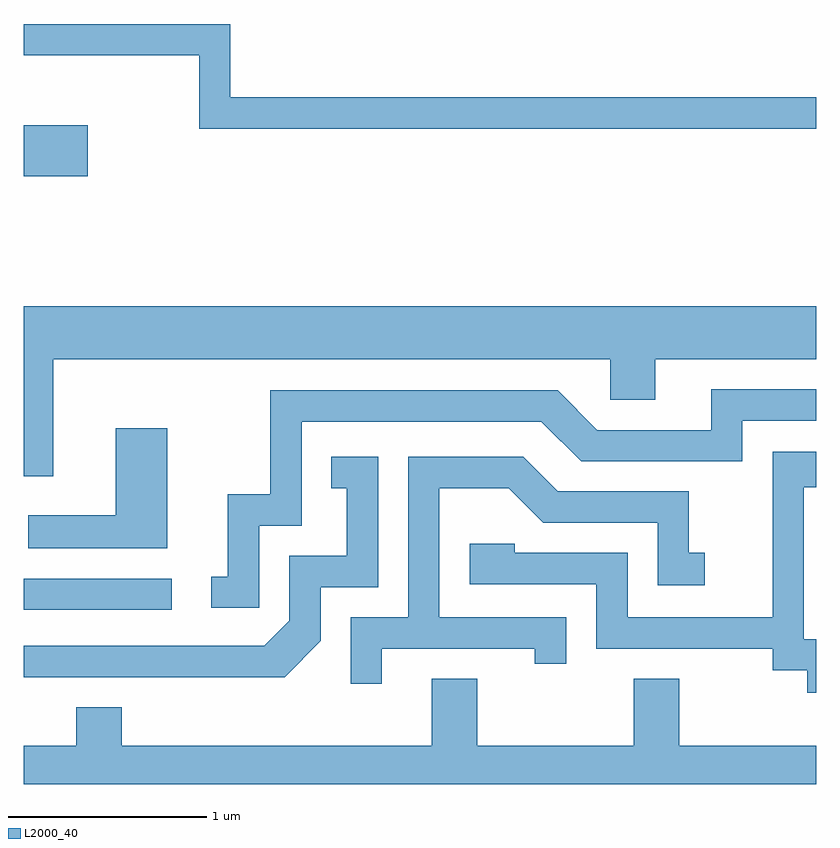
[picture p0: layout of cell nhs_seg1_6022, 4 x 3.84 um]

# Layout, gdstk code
import gdstk
lib = gdstk.Library(unit=1e-6, precision=1e-09)
def R(c, l, rs):  # rectangles x0, y0, x1, y1
    for r in rs: c.add(gdstk.rectangle(r[:2], r[2:], *l))
def P(c, l, *ps):  # polygons
    for p in ps: c.add(gdstk.Polygon(p, *l))
L2000_40 = (2000, 40)

nhs_seg1_6022 = lib.new_cell('nhs_seg1_6022')
R(nhs_seg1_6022, L2000_40, [(367.611,840.591,368.358,840.749), (367.611,842.781,367.934,843.039)])
P(nhs_seg1_6022, L2000_40, [(371.611,843.179),(368.654,843.179),(368.654,843.549),(367.611,843.549),(367.611,843.391),(368.496,843.391),(368.496,843.021),(371.611,843.021)],
  [(367.759,841.856),(370.571,841.856),(370.571,841.651),(370.799,841.651),(370.799,841.856),(371.611,841.856),(371.611,842.124),(367.611,842.124),(367.611,841.266),(367.759,841.266)],
  [(368.799,841.016),(369.014,841.016),(369.014,841.541),(370.224,841.541),(370.424,841.341),(371.239,841.341),(371.239,841.546),(371.611,841.546),(371.611,841.704),(371.081,841.704),(371.081,841.499),(370.507,841.499),(370.307,841.699),(368.856,841.699),(368.856,841.174),(368.641,841.174),(368.641,840.759),(368.558,840.759),(368.558,840.601),(368.799,840.601)],
  [(368.334,841.509),(368.076,841.509),(368.076,841.069),(367.633,841.069),(367.633,840.901),(368.334,840.901)],
  [(371.611,840.444),(371.549,840.444),(371.549,841.211),(371.611,841.211),(371.611,841.389),(371.391,841.389),(371.391,840.554),(370.659,840.554),(370.659,840.879),(370.089,840.879),(370.089,840.924),(369.861,840.924),(369.861,840.721),(370.501,840.721),(370.501,840.396),(371.391,840.396),(371.391,840.286),(371.566,840.286),(371.566,840.173),(371.611,840.173)],
  [(369.419,840.396),(370.191,840.396),(370.191,840.318),(370.349,840.318),(370.349,840.554),(369.709,840.554),(369.709,841.206),(370.059,841.206),(370.234,841.031),(370.811,841.031),(370.811,840.716),(371.048,840.716),(371.048,840.879),(370.969,840.879),(370.969,841.189),(370.307,841.189),(370.132,841.364),(369.551,841.364),(369.551,840.554),(369.261,840.554),(369.261,840.218),(369.419,840.218)],
  [(369.109,840.434),(369.109,840.706),(369.399,840.706),(369.399,841.364),(369.163,841.364),(369.163,841.206),(369.241,841.206),(369.241,840.864),(368.951,840.864),(368.951,840.537),(368.824,840.409),(367.611,840.409),(367.611,840.251),(368.927,840.251)],
  [(371.611,839.904),(370.919,839.904),(370.919,840.244),(370.691,840.244),(370.691,839.904),(369.899,839.904),(369.899,840.244),(369.671,840.244),(369.671,839.904),(368.104,839.904),(368.104,840.099),(367.876,840.099),(367.876,839.904),(367.611,839.904),(367.611,839.712),(371.611,839.712)])

lib.write_gds('nhs_seg1_6022.gds')
